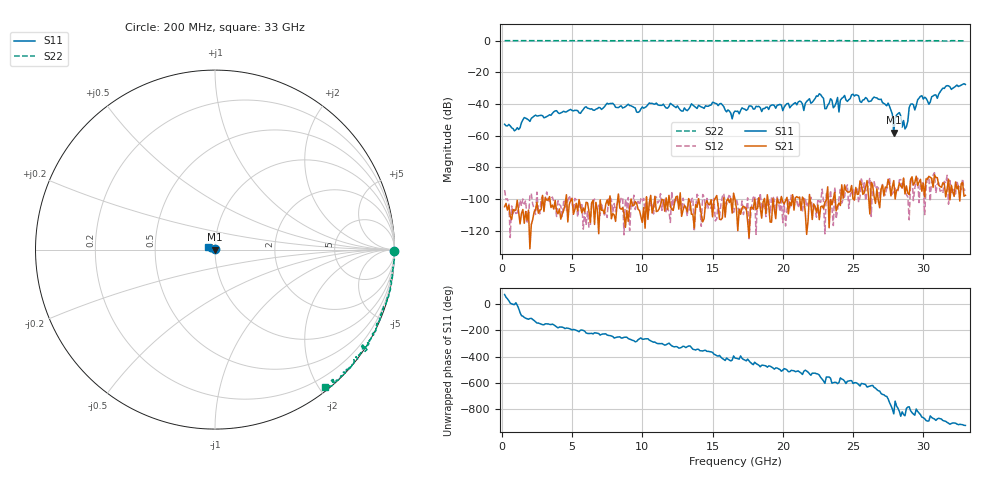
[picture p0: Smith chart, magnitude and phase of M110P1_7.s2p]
# GHZ S RI R 50
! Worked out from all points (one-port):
!   329 points, 200 MHz to 33 GHz, reference 50 ohm
!   lowest |S11| = -58.2 dB at 27.9 GHz (marker M1), VSWR 1.00, Z = 49.9 - j0.111 ohm
!   |S11| at or under -10 dB: start of sweep to end of sweep
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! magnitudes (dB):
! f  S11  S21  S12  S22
! 200 MHz  -52.8  -105.0  -94.4  0.0
! 5.7 GHz  -44.5  -108.8  -103.6  0.0
! 11.2 GHz  -40.8  -106.3  -101.1  0.0
! 16.6 GHz  -44.5  -100.2  -105.0  0.0
! 22.1 GHz  -39.0  -113.0  -105.8  0.0
! 22.6 GHz  -33.6  -113.1  -101.6  -0.1
! 23 GHz  -43.0  -102.1  -122.1  0.0
! 23.4 GHz  -36.7  -100.4  -94.6  -0.2
! 23.6 GHz  -42.4  -99.9  -116.8  -0.1
! 23.9 GHz  -35.9  -104.7  -106.9  -0.1
! 24 GHz  -45.1  -102.6  -99.9  0.1
! 24.2 GHz  -36.5  -91.1  -102.7  0.0
! 25 GHz  -33.9  -100.0  -93.9  -0.1
! 27.6 GHz  -41.5  -90.6  -86.5  0.0
! 27.8 GHz  -46.5  -92.4  -96.9  0.0
! 27.9 GHz  -58.2  -88.4  -95.2  -0.1
! 28.1 GHz  -47.1  -94.5  -96.1  0.0
! 28.7 GHz  -55.8  -96.9  -95.5  -0.1
! 29.1 GHz  -40.2  -87.7  -88.8  0.0
! 29.8 GHz  -35.2  -87.7  -90.0  0.0
! 30.4 GHz  -40.2  -85.7  -86.6  0.0
! 33 GHz  -27.7  -97.8  -94.4  -0.1
